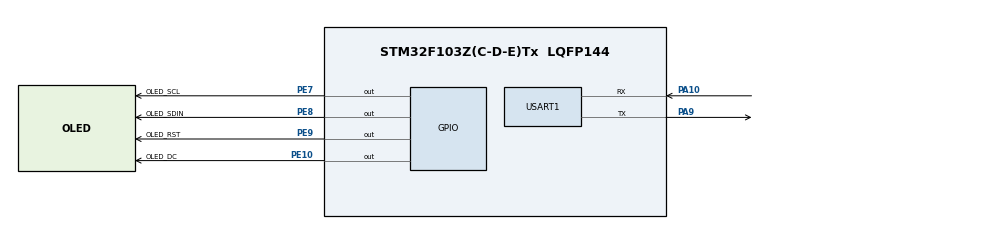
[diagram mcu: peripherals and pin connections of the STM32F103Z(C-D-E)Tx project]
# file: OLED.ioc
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Mcu.Family=STM32F1
Mcu.Name=STM32F103Z(C-D-E)Tx
Mcu.Package=LQFP144
NVIC.PriorityGroup=NVIC_PRIORITYGROUP_4
PA10.Mode=Asynchronous
PA10.Signal=USART1_RX
PA9.Mode=Asynchronous
PA9.Signal=USART1_TX
PE10.GPIO_Label=OLED_DC
PE10.GPIO_Speed=GPIO_SPEED_FREQ_HIGH
PE10.Signal=GPIO_Output
PE7.GPIO_Label=OLED_SCL
PE7.GPIO_Speed=GPIO_SPEED_FREQ_HIGH
PE7.PinState=GPIO_PIN_RESET
PE7.Signal=GPIO_Output
PE8.GPIO_Label=OLED_SDIN
PE8.GPIO_Speed=GPIO_SPEED_FREQ_HIGH
PE8.Signal=GPIO_Output
PE9.GPIO_Label=OLED_RST
PE9.GPIO_Speed=GPIO_SPEED_FREQ_HIGH
PE9.Signal=GPIO_Output
ProjectManager.HeapSize=0x200
ProjectManager.StackSize=0x400
ProjectManager.TargetToolchain=STM32CubeIDE
RCC.APB1Freq_Value=8000000
RCC.APB2Freq_Value=8000000
USART1.VirtualMode=VM_ASYNC
board=custom

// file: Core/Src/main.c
/* USER CODE BEGIN Header */
/**
  ******************************************************************************
  * @file           : main.c
  * @brief          : Main program body
  ******************************************************************************
  * @attention
  *
  * Copyright (c) 2023 STMicroelectronics.
  * All rights reserved.
  *
  * This software is licensed under terms that can be found in the LICENSE file
  * in the root directory of this software component.
  * If no LICENSE file comes with this software, it is provided AS-IS.
  *
  ******************************************************************************
  */
/* USER CODE END Header */
#include "main.h"

UART_HandleTypeDef huart1;

void SystemClock_Config(void);
static void MX_GPIO_Init(void);
static void MX_USART1_UART_Init(void);

int main(void)
{

  /* MCU Configuration--------------------------------------------------------*/

  /* Reset of all peripherals, Initializes the Flash interface and the Systick. */
  HAL_Init();

  /* Configure the system clock */
  SystemClock_Config();

  /* Initialize all configured peripherals */
  MX_GPIO_Init();
  MX_USART1_UART_Init();
  /* USER CODE BEGIN 2 */
  OLED_Init();
  //OLED_SetCursor(20, 20);

//  OLED_WriteCmd(0xAE);
//  OLED_WriteCmd(0xB0);
//  OLED_WriteCmd(0x00);
//  OLED_WriteCmd(0x10);
//  OLED_WriteData(0x0F);
//
//  OLED_WriteCmd(0xB0);
//  OLED_WriteCmd(0x01);
//  OLED_WriteCmd(0x10);
//  OLED_WriteData(0xFF);
//
//  OLED_WriteCmd(0xAF);

//  OLED_WriteCmd(0x2F);
//  OLED_WriteCmd(0x07);
//  OLED_WriteData(0x01);
uint8_t text01[]={
	0x00,0x00,0x10,0x0C,0x90,0x03,0xFE,0x7F,0xFE,0x7F,0x90,0x43,0x10,0x62,0x00,0x38,
	0xFC,0x0F,0x04,0x00,0x04,0x00,0xFC,0x3F,0xFC,0x7F,0x00,0x40,0x00,0x60,0x00,0x00,
	0x00,0x00,0x40,0x02,0x5E,0x7E,0x52,0x26,0x52,0x26,0x52,0x25,0xDE,0x7D,0xE0,0x00,
	0xFE,0x00,0x5E,0x7D,0x52,0x25,0x72,0x26,0x52,0x26,0x5E,0x7E,0x40,0x02,0x00,0x00,
	0x00,0x00,0x10,0x06,0x10,0x03,0x9E,0xFF,0x70,0x01,0x10,0x03,0x00,0x40,0xFC,0x63,
	0x04,0x30,0x04,0x0E,0xF4,0x3F,0x04,0x7C,0x04,0x40,0xFC,0x43,0x00,0x70,0x00,0x00,
	0x00,0x00,0x60,0x40,0x20,0x40,0xAC,0x4F,0xA8,0x4F,0xA0,0x20,0xA0,0x30,0xAE,0x0E,
	0xA0,0x78,0xA0,0x40,0xB0,0x40,0xAE,0x4F,0x24,0x40,0x20,0x40,0x60,0x60,0x00,0x00
};

OLED_WriteCmd(0xAE);
for(int i=0;i<8*16;i+=2)
{
	uint8_t ind = i/2 & 0xFF;
	uint8_t LOW_ind = ind & 0x0F;
	int8_t tmp = ind;
	int8_t mask = 0x10;//设置掩码用于构造列高位指令
	tmp = tmp >> 4;
	uint8_t HIGH_ind = tmp & 0x1F;
	HIGH_ind = HIGH_ind | mask;
	OLED_WriteCmd(0xB0);//页号
	OLED_WriteCmd(LOW_ind);
	OLED_WriteCmd(HIGH_ind);
	OLED_WriteData(text01[i]);

	OLED_WriteCmd(0xB1);
	OLED_WriteCmd(LOW_ind);
	OLED_WriteCmd(HIGH_ind);
	OLED_WriteData(text01[i+1]);
}
OLED_WriteCmd(0xAF);

  /* USER CODE END 2 */

  /* Infinite loop */
  while (1)
  {

  }
}

void SystemClock_Config(void)
{
  RCC_OscInitTypeDef RCC_OscInitStruct = {0};
  RCC_ClkInitTypeDef RCC_ClkInitStruct = {0};

  /** Initializes the RCC Oscillators according to the specified parameters
  * in the RCC_OscInitTypeDef structure.
  */
  RCC_OscInitStruct.OscillatorType = RCC_OSCILLATORTYPE_HSI;
  RCC_OscInitStruct.HSIState = RCC_HSI_ON;
  RCC_OscInitStruct.HSICalibrationValue = RCC_HSICALIBRATION_DEFAULT;
  RCC_OscInitStruct.PLL.PLLState = RCC_PLL_NONE;
  if (HAL_RCC_OscConfig(&RCC_OscInitStruct) != HAL_OK)
  {
    Error_Handler();
  }

  /** Initializes the CPU, AHB and APB buses clocks
  */
  RCC_ClkInitStruct.ClockType = RCC_CLOCKTYPE_HCLK|RCC_CLOCKTYPE_SYSCLK
                              |RCC_CLOCKTYPE_PCLK1|RCC_CLOCKTYPE_PCLK2;
  RCC_ClkInitStruct.SYSCLKSource = RCC_SYSCLKSOURCE_HSI;
  RCC_ClkInitStruct.AHBCLKDivider = RCC_SYSCLK_DIV1;
  RCC_ClkInitStruct.APB1CLKDivider = RCC_HCLK_DIV1;
  RCC_ClkInitStruct.APB2CLKDivider = RCC_HCLK_DIV1;

  if (HAL_RCC_ClockConfig(&RCC_ClkInitStruct, FLASH_LATENCY_0) != HAL_OK)
  {
    Error_Handler();
  }
}

static void MX_USART1_UART_Init(void)
{

  huart1.Instance = USART1;
  huart1.Init.BaudRate = 115200;
  huart1.Init.WordLength = UART_WORDLENGTH_8B;
  huart1.Init.StopBits = UART_STOPBITS_1;
  huart1.Init.Parity = UART_PARITY_NONE;
  huart1.Init.Mode = UART_MODE_TX_RX;
  huart1.Init.HwFlowCtl = UART_HWCONTROL_NONE;
  huart1.Init.OverSampling = UART_OVERSAMPLING_16;
  if (HAL_UART_Init(&huart1) != HAL_OK)
  {
    Error_Handler();
  }

}

static void MX_GPIO_Init(void)
{
  GPIO_InitTypeDef GPIO_InitStruct = {0};

  /* GPIO Ports Clock Enable */
  __HAL_RCC_GPIOE_CLK_ENABLE();
  __HAL_RCC_GPIOA_CLK_ENABLE();

  /*Configure GPIO pin Output Level */
  HAL_GPIO_WritePin(GPIOE, OLED_SCL_Pin|OLED_SDIN_Pin|OLED_RST_Pin|OLED_DC_Pin, GPIO_PIN_RESET);

  /*Configure GPIO pins : OLED_SCL_Pin OLED_SDIN_Pin OLED_RST_Pin OLED_DC_Pin */
  GPIO_InitStruct.Pin = OLED_SCL_Pin|OLED_SDIN_Pin|OLED_RST_Pin|OLED_DC_Pin;
  GPIO_InitStruct.Mode = GPIO_MODE_OUTPUT_PP;
  GPIO_InitStruct.Pull = GPIO_NOPULL;
  GPIO_InitStruct.Speed = GPIO_SPEED_FREQ_HIGH;
  HAL_GPIO_Init(GPIOE, &GPIO_InitStruct);

}

void Error_Handler(void)
{
  __disable_irq();
  while (1)
  {
  }
}
